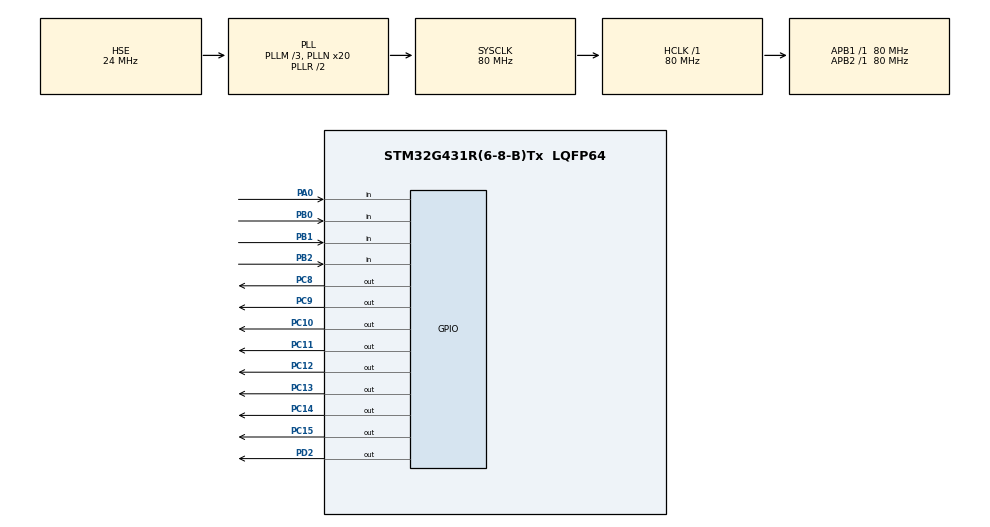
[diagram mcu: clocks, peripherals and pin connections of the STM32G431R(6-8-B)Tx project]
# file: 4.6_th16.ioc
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Mcu.Family=STM32G4
Mcu.Name=STM32G431R(6-8-B)Tx
Mcu.Package=LQFP64
NVIC.PriorityGroup=NVIC_PRIORITYGROUP_4
NVIC.TIM1_UP_TIM16_IRQn=true\:0\:0\:false\:false\:true\:true\:true\:true
PA0.GPIO_Mode=GPIO_MODE_INPUT
PA0.GPIO_PuPd=GPIO_NOPULL
PA0.Signal=GPIO_Input
PA13.Mode=Serial_Wire
PA13.Signal=SYS_JTMS-SWDIO
PA14.Mode=Serial_Wire
PA14.Signal=SYS_JTCK-SWCLK
PB0.GPIO_Mode=GPIO_MODE_INPUT
PB0.GPIO_PuPd=GPIO_NOPULL
PB0.Signal=GPIO_Input
PB1.GPIO_Mode=GPIO_MODE_INPUT
PB1.GPIO_PuPd=GPIO_NOPULL
PB1.Signal=GPIO_Input
PB2.GPIO_Mode=GPIO_MODE_INPUT
PB2.GPIO_PuPd=GPIO_NOPULL
PB2.Signal=GPIO_Input
PC10.GPIO_ModeDefaultOutputPP=GPIO_MODE_OUTPUT_PP
PC10.PinState=GPIO_PIN_SET
PC10.Signal=GPIO_Output
PC11.GPIO_ModeDefaultOutputPP=GPIO_MODE_OUTPUT_PP
PC11.PinState=GPIO_PIN_SET
PC11.Signal=GPIO_Output
PC12.GPIO_ModeDefaultOutputPP=GPIO_MODE_OUTPUT_PP
PC12.PinState=GPIO_PIN_SET
PC12.Signal=GPIO_Output
PC13.GPIO_ModeDefaultOutputPP=GPIO_MODE_OUTPUT_PP
PC13.PinState=GPIO_PIN_SET
PC13.Signal=GPIO_Output
PC14-OSC32_IN.GPIO_ModeDefaultOutputPP=GPIO_MODE_OUTPUT_PP
PC14-OSC32_IN.PinState=GPIO_PIN_SET
PC14-OSC32_IN.Signal=GPIO_Output
PC15-OSC32_OUT.GPIO_ModeDefaultOutputPP=GPIO_MODE_OUTPUT_PP
PC15-OSC32_OUT.PinState=GPIO_PIN_SET
PC15-OSC32_OUT.Signal=GPIO_Output
PC8.GPIO_ModeDefaultOutputPP=GPIO_MODE_OUTPUT_PP
PC8.PinState=GPIO_PIN_SET
PC8.Signal=GPIO_Output
PC9.GPIO_ModeDefaultOutputPP=GPIO_MODE_OUTPUT_PP
PC9.PinState=GPIO_PIN_SET
PC9.Signal=GPIO_Output
PD2.GPIO_ModeDefaultOutputPP=GPIO_MODE_OUTPUT_PP
PD2.PinState=GPIO_PIN_SET
PD2.Signal=GPIO_Output
PF0-OSC_IN.Mode=HSE-External-Oscillator
PF0-OSC_IN.Signal=RCC_OSC_IN
PF1-OSC_OUT.Mode=HSE-External-Oscillator
PF1-OSC_OUT.Signal=RCC_OSC_OUT
ProjectManager.HeapSize=0x200
ProjectManager.StackSize=0x400
ProjectManager.TargetToolchain=MDK-ARM V5.32
RCC.ADC12Freq_Value=80000000
RCC.AHBFreq_Value=80000000
RCC.APB1Freq_Value=80000000
RCC.APB1TimFreq_Value=80000000
RCC.APB2Freq_Value=80000000
RCC.APB2TimFreq_Value=80000000
RCC.CortexFreq_Value=80000000
RCC.EXTERNAL_CLOCK_VALUE=12288000
RCC.HCLKFreq_Value=80000000
RCC.HSE_VALUE=24000000
RCC.HSI48_VALUE=48000000
RCC.HSI_VALUE=16000000
RCC.LSE_VALUE=32768
RCC.PLLM=RCC_PLLM_DIV3
RCC.PLLN=20
RCC.PLLSourceVirtual=RCC_PLLSOURCE_HSE
RCC.SYSCLKFreq_VALUE=80000000
RCC.SYSCLKSource=RCC_SYSCLKSOURCE_PLLCLK
RCC.USBFreq_Value=80000000
RCC.VCOOutputFreq_Value=160000000
TIM1.PeriodNoDither=1000-1
TIM1.Prescaler=80-1
VP_SYS_VS_DBSignals.Mode=DisableDeadBatterySignals
VP_TIM1_VS_ClockSourceINT.Mode=Internal
board=custom

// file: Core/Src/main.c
/* USER CODE BEGIN Header */
/**
  ******************************************************************************
  * @file           : main.c
  * @brief          : Main program body
  ******************************************************************************
  * @attention
  *
  * Copyright (c) 2026 STMicroelectronics.
  * All rights reserved.
  *
  * This software is licensed under terms that can be found in the LICENSE file
  * in the root directory of this software component.
  * If no LICENSE file comes with this software, it is provided AS-IS.
  *
  ******************************************************************************
  */
/* USER CODE END Header */
#include "main.h"
#include "tim.h"
#include "gpio.h"

/* USER CODE BEGIN Includes */
#include "headfile.h"
/* USER CODE END Includes */

void SystemClock_Config(void);

int main(void)
{

  /* MCU Configuration--------------------------------------------------------*/

  /* Reset of all peripherals, Initializes the Flash interface and the Systick. */
  HAL_Init();

  /* Configure the system clock */
  SystemClock_Config();

  /* Initialize all configured peripherals */
  MX_GPIO_Init();
  MX_TIM1_Init();
  /* USER CODE BEGIN 2 */
	HAL_GPIO_WritePin(GPIOD,GPIO_PIN_2,GPIO_PIN_RESET);
	HAL_TIM_Base_Start_IT(&htim1);

	LCD_Init();
	LCD_Clear(Black);
	LCD_SetBackColor(Black);
	LCD_SetTextColor(White);

  /* USER CODE END 2 */

  /* Infinite loop */
  /* USER CODE BEGIN WHILE */
  while (1)
  {
	  task();
	  if(key_short)
	  {
		switch(key_short)
		{
			case 1:{b++;}break;
				case 2:{}break;
					case 3:{}break;
						case 4:{}break;
		}key_short=0;
	  }

	  if(key_long)
	  {
		switch(key_long)
		{
			case 1:{b--;}break;
				case 2:{}break;
					case 3:{}break;
						case 4:{}break;
		}key_long=0;
	  }

    /* USER CODE END WHILE */

  }
}

void SystemClock_Config(void)
{
  RCC_OscInitTypeDef RCC_OscInitStruct = {0};
  RCC_ClkInitTypeDef RCC_ClkInitStruct = {0};

  /** Configure the main internal regulator output voltage
  */
  HAL_PWREx_ControlVoltageScaling(PWR_REGULATOR_VOLTAGE_SCALE1);

  /** Initializes the RCC Oscillators according to the specified parameters
  * in the RCC_OscInitTypeDef structure.
  */
  RCC_OscInitStruct.OscillatorType = RCC_OSCILLATORTYPE_HSE;
  RCC_OscInitStruct.HSEState = RCC_HSE_ON;
  RCC_OscInitStruct.PLL.PLLState = RCC_PLL_ON;
  RCC_OscInitStruct.PLL.PLLSource = RCC_PLLSOURCE_HSE;
  RCC_OscInitStruct.PLL.PLLM = RCC_PLLM_DIV3;
  RCC_OscInitStruct.PLL.PLLN = 20;
  RCC_OscInitStruct.PLL.PLLP = RCC_PLLP_DIV2;
  RCC_OscInitStruct.PLL.PLLQ = RCC_PLLQ_DIV2;
  RCC_OscInitStruct.PLL.PLLR = RCC_PLLR_DIV2;
  if (HAL_RCC_OscConfig(&RCC_OscInitStruct) != HAL_OK)
  {
    Error_Handler();
  }

  /** Initializes the CPU, AHB and APB buses clocks
  */
  RCC_ClkInitStruct.ClockType = RCC_CLOCKTYPE_HCLK|RCC_CLOCKTYPE_SYSCLK
                              |RCC_CLOCKTYPE_PCLK1|RCC_CLOCKTYPE_PCLK2;
  RCC_ClkInitStruct.SYSCLKSource = RCC_SYSCLKSOURCE_PLLCLK;
  RCC_ClkInitStruct.AHBCLKDivider = RCC_SYSCLK_DIV1;
  RCC_ClkInitStruct.APB1CLKDivider = RCC_HCLK_DIV1;
  RCC_ClkInitStruct.APB2CLKDivider = RCC_HCLK_DIV1;

  if (HAL_RCC_ClockConfig(&RCC_ClkInitStruct, FLASH_LATENCY_2) != HAL_OK)
  {
    Error_Handler();
  }
}

void Error_Handler(void)
{
  __disable_irq();
  while (1)
  {
  }
}
